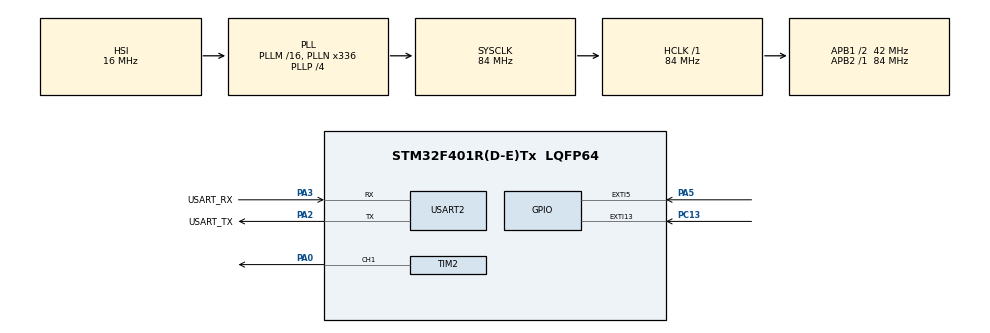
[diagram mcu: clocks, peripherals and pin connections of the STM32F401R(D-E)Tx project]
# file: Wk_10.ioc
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Mcu.Family=STM32F4
Mcu.Name=STM32F401R(D-E)Tx
Mcu.Package=LQFP64
NVIC.EXTI15_10_IRQn=true\:0\:0\:false\:false\:true\:true
NVIC.PriorityGroup=NVIC_PRIORITYGROUP_0
PA0-WKUP.Signal=S_TIM2_CH1_ETR
PA13.GPIO_Label=TMS
PA13.Mode=Serial_Wire
PA13.Signal=SYS_JTMS-SWDIO
PA14.GPIO_Label=TCK
PA14.Mode=Serial_Wire
PA14.Signal=SYS_JTCK-SWCLK
PA2.GPIO_Label=USART_TX
PA2.GPIO_Mode=GPIO_MODE_AF_PP
PA2.GPIO_PuPd=GPIO_NOPULL
PA2.GPIO_Speed=GPIO_SPEED_FREQ_LOW
PA2.Mode=Asynchronous
PA2.Signal=USART2_TX
PA3.GPIO_Label=USART_RX
PA3.GPIO_Mode=GPIO_MODE_AF_PP
PA3.GPIO_PuPd=GPIO_NOPULL
PA3.GPIO_Speed=GPIO_SPEED_FREQ_LOW
PA3.Mode=Asynchronous
PA3.Signal=USART2_RX
PA5.Signal=GPXTI5
PB3.GPIO_Label=SWO
PB3.Signal=SYS_JTDO-SWO
PC13-ANTI_TAMP.Signal=GPXTI13
PC14-OSC32_IN.Mode=LSE-External-Oscillator
PC14-OSC32_IN.Signal=RCC_OSC32_IN
PC15-OSC32_OUT.Mode=LSE-External-Oscillator
PC15-OSC32_OUT.Signal=RCC_OSC32_OUT
PH0\ -\ OSC_IN.Mode=HSE-External-Clock-Source
PH0\ -\ OSC_IN.Signal=RCC_OSC_IN
PH1\ -\ OSC_OUT.Mode=HSE-External-Clock-Source
PH1\ -\ OSC_OUT.Signal=RCC_OSC_OUT
ProjectManager.HeapSize=0x200
ProjectManager.StackSize=0x400
ProjectManager.TargetToolchain=EWARM V8
RCC.48MHZClocksFreq_Value=48000000
RCC.AHBFreq_Value=84000000
RCC.APB1CLKDivider=RCC_HCLK_DIV2
RCC.APB1Freq_Value=42000000
RCC.APB1TimFreq_Value=84000000
RCC.APB2Freq_Value=84000000
RCC.APB2TimFreq_Value=84000000
RCC.CortexFreq_Value=84000000
RCC.HCLKFreq_Value=84000000
RCC.HSE_VALUE=8000000
RCC.HSI_VALUE=16000000
RCC.PLLN=336
RCC.PLLP=RCC_PLLP_DIV4
RCC.PLLQ=7
RCC.SYSCLKFreq_VALUE=84000000
RCC.SYSCLKSource=RCC_SYSCLKSOURCE_PLLCLK
RCC.VCOOutputFreq_Value=336000000
SH.S_TIM2_CH1_ETR.0=TIM2_CH1,PWM Generation1 CH1
TIM2.Channel-PWM\ Generation1\ CH1=TIM_CHANNEL_1
TIM2.Period=2000-1
TIM2.Prescaler=840-1
USART2.VirtualMode=VM_ASYNC
board=NUCLEO-F401RE

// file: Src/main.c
/**
  ******************************************************************************
  * @file           : main.c
  * @brief          : Main program body
  ******************************************************************************
  ** This notice applies to any and all portions of this file
  * that are not between comment pairs USER CODE BEGIN and
  * USER CODE END. Other portions of this file, whether
  * inserted by the user or by software development tools
  * are owned by their respective copyright owners.
  *
  * COPYRIGHT(c) 2019 STMicroelectronics
  *
  * Redistribution and use in source and binary forms, with or without modification,
  * are permitted provided that the following conditions are met:
  *   1. Redistributions of source code must retain the above copyright notice,
  *      this list of conditions and the following disclaimer.
  *   2. Redistributions in binary form must reproduce the above copyright notice,
  *      this list of conditions and the following disclaimer in the documentation
  *      and/or other materials provided with the distribution.
  *   3. Neither the name of STMicroelectronics nor the names of its contributors
  *      may be used to endorse or promote products derived from this software
  *      without specific prior written permission.
  *
  * THIS SOFTWARE IS PROVIDED BY THE COPYRIGHT HOLDERS AND CONTRIBUTORS "AS IS"
  * AND ANY EXPRESS OR IMPLIED WARRANTIES, INCLUDING, BUT NOT LIMITED TO, THE
  * IMPLIED WARRANTIES OF MERCHANTABILITY AND FITNESS FOR A PARTICULAR PURPOSE ARE
  * DISCLAIMED. IN NO EVENT SHALL THE COPYRIGHT HOLDER OR CONTRIBUTORS BE LIABLE
  * FOR ANY DIRECT, INDIRECT, INCIDENTAL, SPECIAL, EXEMPLARY, OR CONSEQUENTIAL
  * DAMAGES (INCLUDING, BUT NOT LIMITED TO, PROCUREMENT OF SUBSTITUTE GOODS OR
  * SERVICES; LOSS OF USE, DATA, OR PROFITS; OR BUSINESS INTERRUPTION) HOWEVER
  * CAUSED AND ON ANY THEORY OF LIABILITY, WHETHER IN CONTRACT, STRICT LIABILITY,
  * OR TORT (INCLUDING NEGLIGENCE OR OTHERWISE) ARISING IN ANY WAY OUT OF THE USE
  * OF THIS SOFTWARE, EVEN IF ADVISED OF THE POSSIBILITY OF SUCH DAMAGE.
  *
  ******************************************************************************
  */
#include "main.h"
#include "stm32f4xx_hal.h"

/* USER CODE BEGIN Includes */
#include "led_states.h"
/* USER CODE END Includes */

TIM_HandleTypeDef htim2;

UART_HandleTypeDef huart2;

/* USER CODE BEGIN PV */
/* Private variables ---------------------------------------------------------*/

enum LedState state;

/* USER CODE END PV */

void SystemClock_Config(void);
static void MX_GPIO_Init(void);
static void MX_USART2_UART_Init(void);
static void MX_TIM2_Init(void);
void HAL_TIM_MspPostInit(TIM_HandleTypeDef *htim);

/* USER CODE BEGIN PFP */
/* Private function prototypes -----------------------------------------------*/
void LED_GPIO(void);
void LED_TIM2(void);
void User_PWM_SetValue(uint16_t);
/* USER CODE END PFP */

int main(void)
{

  /* MCU Configuration----------------------------------------------------------*/

  /* Reset of all peripherals, Initializes the Flash interface and the Systick. */
  HAL_Init();

  /* Configure the system clock */
  SystemClock_Config();

  /* Initialize all configured peripherals */
  MX_GPIO_Init();
  MX_USART2_UART_Init();
  MX_TIM2_Init();

  /* Infinite loop */
  /* USER CODE BEGIN WHILE */
  while (1)
  {
    switch (state)
    {
    case Reset:
      LED_GPIO();
      LD2_GPIO_Port->ODR &= ~LD2_Pin;
      break;
    case On:
      LED_GPIO();
      LD2_GPIO_Port->ODR |= LD2_Pin;
      break;
    case SlowBlink:
      LED_GPIO();
      LD2_GPIO_Port->ODR ^= LD2_Pin;
      HAL_Delay(500);
      break;
    case FastBlink:
      LED_GPIO();
      LD2_GPIO_Port->ODR ^= LD2_Pin;
      HAL_Delay(100);
      break;
    case SlowDim:
      LED_TIM2();
      User_PWM_SetValue((uint16_t)100);
      break;
    case FastDim:
      LED_TIM2();
      User_PWM_SetValue((uint16_t)1900);
      break;
    default:
      state = Reset;
    }

  /* USER CODE END WHILE */

  }

}

void SystemClock_Config(void)
{

  RCC_OscInitTypeDef RCC_OscInitStruct;
  RCC_ClkInitTypeDef RCC_ClkInitStruct;

    /**Configure the main internal regulator output voltage
    */
  __HAL_RCC_PWR_CLK_ENABLE();

  __HAL_PWR_VOLTAGESCALING_CONFIG(PWR_REGULATOR_VOLTAGE_SCALE2);

    /**Initializes the CPU, AHB and APB busses clocks
    */
  RCC_OscInitStruct.OscillatorType = RCC_OSCILLATORTYPE_HSI;
  RCC_OscInitStruct.HSIState = RCC_HSI_ON;
  RCC_OscInitStruct.HSICalibrationValue = 16;
  RCC_OscInitStruct.PLL.PLLState = RCC_PLL_ON;
  RCC_OscInitStruct.PLL.PLLSource = RCC_PLLSOURCE_HSI;
  RCC_OscInitStruct.PLL.PLLM = 16;
  RCC_OscInitStruct.PLL.PLLN = 336;
  RCC_OscInitStruct.PLL.PLLP = RCC_PLLP_DIV4;
  RCC_OscInitStruct.PLL.PLLQ = 7;
  if (HAL_RCC_OscConfig(&RCC_OscInitStruct) != HAL_OK)
  {
    _Error_Handler(__FILE__, __LINE__);
  }

    /**Initializes the CPU, AHB and APB busses clocks
    */
  RCC_ClkInitStruct.ClockType = RCC_CLOCKTYPE_HCLK|RCC_CLOCKTYPE_SYSCLK
                              |RCC_CLOCKTYPE_PCLK1|RCC_CLOCKTYPE_PCLK2;
  RCC_ClkInitStruct.SYSCLKSource = RCC_SYSCLKSOURCE_PLLCLK;
  RCC_ClkInitStruct.AHBCLKDivider = RCC_SYSCLK_DIV1;
  RCC_ClkInitStruct.APB1CLKDivider = RCC_HCLK_DIV2;
  RCC_ClkInitStruct.APB2CLKDivider = RCC_HCLK_DIV1;

  if (HAL_RCC_ClockConfig(&RCC_ClkInitStruct, FLASH_LATENCY_2) != HAL_OK)
  {
    _Error_Handler(__FILE__, __LINE__);
  }

    /**Configure the Systick interrupt time
    */
  HAL_SYSTICK_Config(HAL_RCC_GetHCLKFreq()/1000);

    /**Configure the Systick
    */
  HAL_SYSTICK_CLKSourceConfig(SYSTICK_CLKSOURCE_HCLK);

  /* SysTick_IRQn interrupt configuration */
  HAL_NVIC_SetPriority(SysTick_IRQn, 0, 0);
}

/* TIM2 init function */
static void MX_TIM2_Init(void)
{

  TIM_MasterConfigTypeDef sMasterConfig;
  TIM_OC_InitTypeDef sConfigOC;

  htim2.Instance = TIM2;
  htim2.Init.Prescaler = 840-1;
  htim2.Init.CounterMode = TIM_COUNTERMODE_UP;
  htim2.Init.Period = 2000-1;
  htim2.Init.ClockDivision = TIM_CLOCKDIVISION_DIV1;
  if (HAL_TIM_PWM_Init(&htim2) != HAL_OK)
  {
    _Error_Handler(__FILE__, __LINE__);
  }

  sMasterConfig.MasterOutputTrigger = TIM_TRGO_RESET;
  sMasterConfig.MasterSlaveMode = TIM_MASTERSLAVEMODE_DISABLE;
  if (HAL_TIMEx_MasterConfigSynchronization(&htim2, &sMasterConfig) != HAL_OK)
  {
    _Error_Handler(__FILE__, __LINE__);
  }

  sConfigOC.OCMode = TIM_OCMODE_PWM1;
  sConfigOC.Pulse = 0;
  sConfigOC.OCPolarity = TIM_OCPOLARITY_HIGH;
  sConfigOC.OCFastMode = TIM_OCFAST_DISABLE;
  if (HAL_TIM_PWM_ConfigChannel(&htim2, &sConfigOC, TIM_CHANNEL_1) != HAL_OK)
  {
    _Error_Handler(__FILE__, __LINE__);
  }

  HAL_TIM_MspPostInit(&htim2);

}

/* USART2 init function */
static void MX_USART2_UART_Init(void)
{

  huart2.Instance = USART2;
  huart2.Init.BaudRate = 115200;
  huart2.Init.WordLength = UART_WORDLENGTH_8B;
  huart2.Init.StopBits = UART_STOPBITS_1;
  huart2.Init.Parity = UART_PARITY_NONE;
  huart2.Init.Mode = UART_MODE_TX_RX;
  huart2.Init.HwFlowCtl = UART_HWCONTROL_NONE;
  huart2.Init.OverSampling = UART_OVERSAMPLING_16;
  if (HAL_UART_Init(&huart2) != HAL_OK)
  {
    _Error_Handler(__FILE__, __LINE__);
  }

}

/** Configure pins as
        * Analog
        * Input
        * Output
        * EVENT_OUT
        * EXTI
*/
static void MX_GPIO_Init(void)
{

  GPIO_InitTypeDef GPIO_InitStruct;

  /* GPIO Ports Clock Enable */
  __HAL_RCC_GPIOC_CLK_ENABLE();
  __HAL_RCC_GPIOH_CLK_ENABLE();
  __HAL_RCC_GPIOA_CLK_ENABLE();
  __HAL_RCC_GPIOB_CLK_ENABLE();

  /*Configure GPIO pin : PC13 */
  GPIO_InitStruct.Pin = GPIO_PIN_13;
  GPIO_InitStruct.Mode = GPIO_MODE_IT_RISING;
  GPIO_InitStruct.Pull = GPIO_NOPULL;
  HAL_GPIO_Init(GPIOC, &GPIO_InitStruct);

  /*Configure GPIO pin : PA5 */
  GPIO_InitStruct.Pin = GPIO_PIN_5;
  GPIO_InitStruct.Mode = GPIO_MODE_IT_RISING;
  GPIO_InitStruct.Pull = GPIO_NOPULL;
  HAL_GPIO_Init(GPIOA, &GPIO_InitStruct);

  /* EXTI interrupt init*/
  HAL_NVIC_SetPriority(EXTI15_10_IRQn, 0, 0);
  HAL_NVIC_EnableIRQ(EXTI15_10_IRQn);

}

/* USER CODE BEGIN 4 */
void LED_GPIO(void) {
  LD2_GPIO_Port->MODER |= GPIO_MODER_MODE5_0;
  LD2_GPIO_Port->MODER &= ~GPIO_MODER_MODE5_1;
}

void LED_TIM2(void) {
  LD2_GPIO_Port->MODER &= ~GPIO_MODER_MODE5_0;
  LD2_GPIO_Port->MODER |= GPIO_MODER_MODE5_1;
  LD2_GPIO_Port->AFR[0] |= GPIO_AFRL_AFSEL5_0;
  LD2_GPIO_Port->AFR[0] &= ~(GPIO_AFRL_AFSEL5_1 |
                             GPIO_AFRL_AFSEL5_2 |
                             GPIO_AFRL_AFSEL5_3);
}

void User_PWM_SetValue(uint16_t value) {
  TIM_OC_InitTypeDef sConfigOC;
  sConfigOC.OCMode = TIM_OCMODE_PWM1;
  sConfigOC.Pulse = value;
  sConfigOC.OCPolarity = TIM_OCPOLARITY_HIGH;
  sConfigOC.OCFastMode = TIM_OCFAST_DISABLE;
  HAL_TIM_PWM_ConfigChannel(&htim2, &sConfigOC, TIM_CHANNEL_1);
  HAL_TIM_PWM_Start(&htim2, TIM_CHANNEL_1);
}

/* USER CODE END 4 */

void _Error_Handler(char *file, int line)
{
  while(1)
  {
  }
}

/************************ (C) COPYRIGHT STMicroelectronics *****END OF FILE****/
